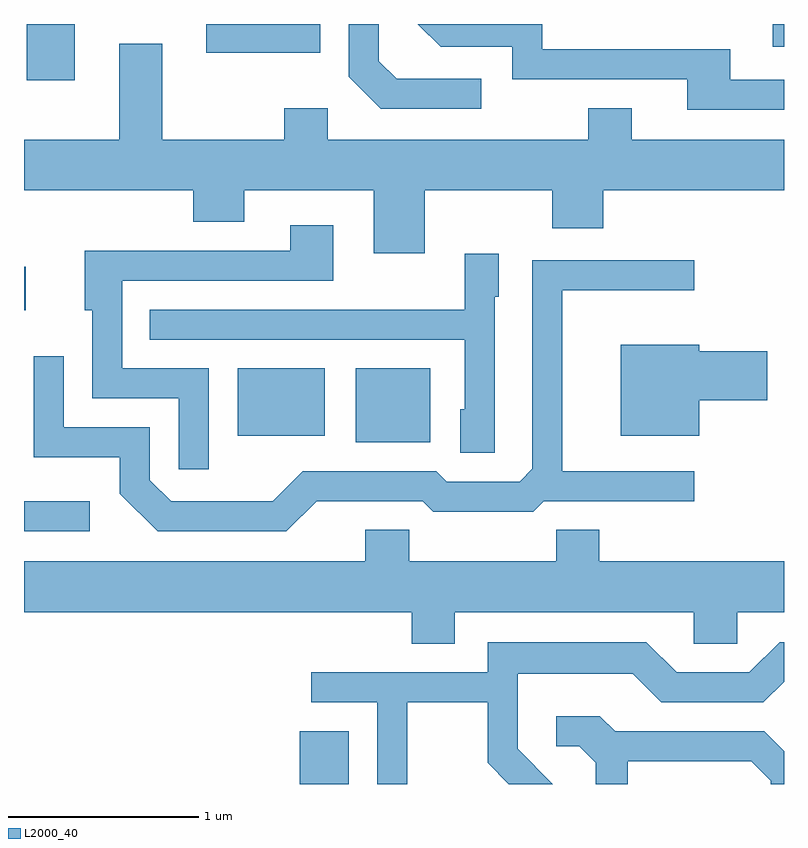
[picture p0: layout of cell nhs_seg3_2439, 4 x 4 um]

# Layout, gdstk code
import gdstk
lib = gdstk.Library(unit=1e-6, precision=1e-09)
def R(c, l, rs):  # rectangles x0, y0, x1, y1
    for r in rs: c.add(gdstk.rectangle(r[:2], r[2:], *l))
def P(c, l, *ps):  # polygons
    for p in ps: c.add(gdstk.Polygon(p, *l))
L2000_40 = (2000, 40)

nhs_seg3_2439 = lib.new_cell('nhs_seg3_2439')
R(nhs_seg3_2439, L2000_40, [(257.061,1233.892,257.319,1234.169), (255.611,1235.221,255.958,1235.379), (257.356,1235.691,257.749,1236.079), (256.736,1235.726,257.194,1236.079), (255.611,1236.386,255.619,1236.614), (255.626,1237.596,255.879,1237.892), (256.571,1237.741,257.169,1237.892), (259.551,1237.771,259.611,1237.892)])
P(nhs_seg3_2439, L2000_40, [(259.611,1237.599),(259.329,1237.599),(259.329,1237.759),(258.339,1237.759),(258.339,1237.892),(257.683,1237.892),(257.804,1237.771),(258.181,1237.771),(258.181,1237.601),(259.101,1237.601),(259.101,1237.441),(259.611,1237.441)],
  [(258.017,1237.604),(257.572,1237.604),(257.479,1237.697),(257.479,1237.892),(257.321,1237.892),(257.321,1237.614),(257.489,1237.446),(258.017,1237.446)],
  [(257.719,1237.016),(258.391,1237.016),(258.391,1236.816),(258.659,1236.816),(258.659,1237.016),(259.611,1237.016),(259.611,1237.284),(258.809,1237.284),(258.809,1237.449),(258.581,1237.449),(258.581,1237.284),(257.209,1237.284),(257.209,1237.449),(256.981,1237.449),(256.981,1237.284),(256.339,1237.284),(256.339,1237.789),(256.111,1237.789),(256.111,1237.284),(255.611,1237.284),(255.611,1237.016),(256.501,1237.016),(256.501,1236.851),(256.769,1236.851),(256.769,1237.016),(257.451,1237.016),(257.451,1236.686),(257.719,1236.686)],
  [(256.584,1236.079),(256.129,1236.079),(256.129,1236.541),(257.239,1236.541),(257.239,1236.834),(257.011,1236.834),(257.011,1236.699),(255.931,1236.699),(255.931,1236.386),(255.971,1236.386),(255.971,1235.921),(256.426,1235.921),(256.426,1235.548),(256.584,1235.548)],
  [(258.089,1236.456),(258.109,1236.456),(258.109,1236.684),(257.931,1236.684),(257.931,1236.389),(256.272,1236.389),(256.272,1236.231),(257.931,1236.231),(257.931,1235.864),(257.906,1235.864),(257.906,1235.636),(258.089,1235.636)],
  [(257.152,1235.381),(257.709,1235.381),(257.764,1235.326),(258.291,1235.326),(258.347,1235.381),(259.138,1235.381),(259.138,1235.539),(258.444,1235.539),(258.444,1236.491),(259.138,1236.491),(259.138,1236.649),(258.286,1236.649),(258.286,1235.552),(258.219,1235.484),(257.837,1235.484),(257.782,1235.539),(257.079,1235.539),(256.919,1235.379),(256.387,1235.379),(256.274,1235.492),(256.274,1235.769),(255.819,1235.769),(255.819,1236.143),(255.661,1236.143),(255.661,1235.611),(256.116,1235.611),(256.116,1235.419),(256.314,1235.221),(256.992,1235.221)],
  [(259.164,1235.911),(259.524,1235.911),(259.524,1236.169),(259.164,1236.169),(259.164,1236.204),(258.751,1236.204),(258.751,1235.726),(259.164,1235.726)],
  [(257.879,1234.796),(259.136,1234.796),(259.136,1234.631),(259.364,1234.631),(259.364,1234.796),(259.611,1234.796),(259.611,1235.064),(258.639,1235.064),(258.639,1235.229),(258.411,1235.229),(258.411,1235.064),(257.639,1235.064),(257.639,1235.229),(257.406,1235.229),(257.406,1235.064),(255.611,1235.064),(255.611,1234.796),(257.651,1234.796),(257.651,1234.631),(257.879,1234.631)],
  [(257.629,1234.321),(258.051,1234.321),(258.051,1234.004),(258.163,1233.892),(258.394,1233.892),(258.209,1234.077),(258.209,1234.471),(258.814,1234.471),(258.964,1234.321),(259.502,1234.321),(259.611,1234.43),(259.611,1234.639),(259.589,1234.639),(259.429,1234.479),(259.046,1234.479),(258.887,1234.639),(258.051,1234.639),(258.051,1234.479),(257.123,1234.479),(257.123,1234.321),(257.471,1234.321),(257.471,1233.892),(257.629,1233.892)],
  [(258.789,1234.011),(259.439,1234.011),(259.541,1233.909),(259.541,1233.892),(259.611,1233.892),(259.611,1234.065),(259.507,1234.169),(258.722,1234.169),(258.642,1234.249),(258.413,1234.249),(258.413,1234.091),(258.534,1234.091),(258.621,1234.004),(258.621,1233.892),(258.789,1233.892)])

lib.write_gds('nhs_seg3_2439.gds')
